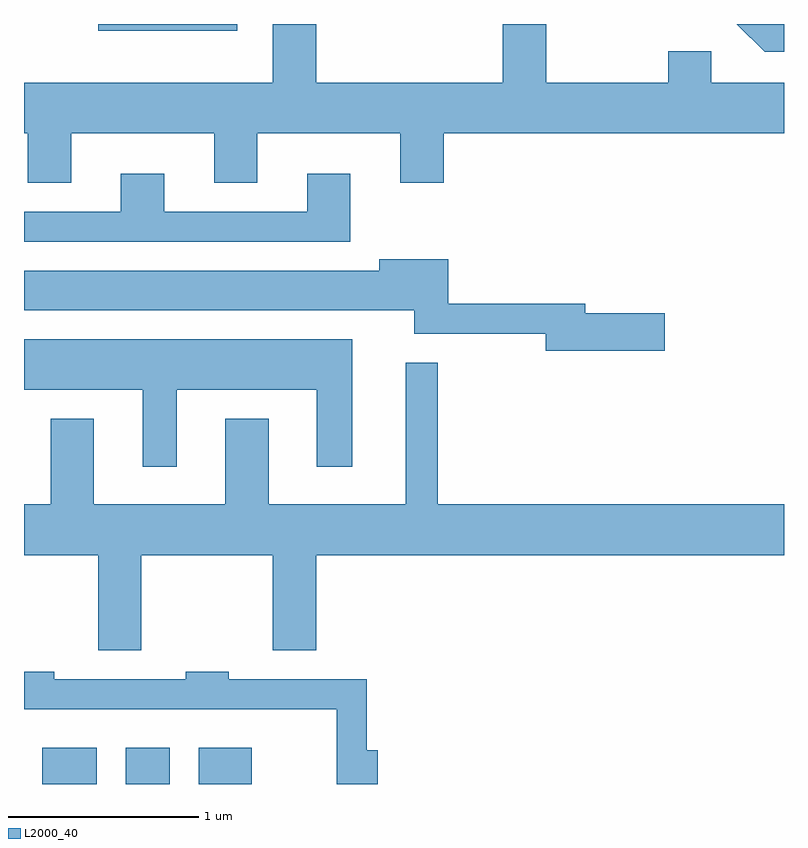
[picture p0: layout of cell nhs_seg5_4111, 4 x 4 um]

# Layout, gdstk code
import gdstk
lib = gdstk.Library(unit=1e-6, precision=1e-09)
def R(c, l, rs):  # rectangles x0, y0, x1, y1
    for r in rs: c.add(gdstk.rectangle(r[:2], r[2:], *l))
def P(c, l, *ps):  # polygons
    for p in ps: c.add(gdstk.Polygon(p, *l))
L2000_40 = (2000, 40)

nhs_seg5_4111 = lib.new_cell('nhs_seg5_4111')
R(nhs_seg5_4111, L2000_40, [(307.706,1420.072,307.994,1420.264), (308.146,1420.072,308.379,1420.264), (308.531,1420.072,308.809,1420.264), (308.001,1424.036,308.734,1424.072)])
P(nhs_seg5_4111, L2000_40, [(311.611,1423.764),(311.229,1423.764),(311.229,1423.929),(311.001,1423.929),(311.001,1423.764),(310.359,1423.764),(310.359,1424.072),(310.131,1424.072),(310.131,1423.764),(309.149,1423.764),(309.149,1424.072),(308.921,1424.072),(308.921,1423.764),(307.611,1423.764),(307.611,1423.496),(307.631,1423.496),(307.631,1423.236),(307.859,1423.236),(307.859,1423.496),(308.611,1423.496),(308.611,1423.236),(308.839,1423.236),(308.839,1423.496),(309.591,1423.496),(309.591,1423.236),(309.819,1423.236),(309.819,1423.496),(311.611,1423.496)],
  [(311.611,1424.072),(311.363,1424.072),(311.509,1423.926),(311.611,1423.926)],
  [(309.329,1423.284),(309.101,1423.284),(309.101,1423.084),(308.349,1423.084),(308.349,1423.284),(308.121,1423.284),(308.121,1423.084),(307.611,1423.084),(307.611,1422.926),(309.329,1422.926)],
  [(310.984,1422.549),(310.564,1422.549),(310.564,1422.599),(309.844,1422.599),(309.844,1422.834),(309.481,1422.834),(309.481,1422.774),(307.611,1422.774),(307.611,1422.566),(309.666,1422.566),(309.666,1422.441),(310.356,1422.441),(310.356,1422.351),(310.984,1422.351)],
  [(308.414,1422.146),(309.151,1422.146),(309.151,1421.741),(309.339,1421.741),(309.339,1422.414),(307.611,1422.414),(307.611,1422.146),(308.236,1422.146),(308.236,1421.741),(308.414,1421.741)],
  [(308.229,1421.276),(308.921,1421.276),(308.921,1420.776),(309.149,1420.776),(309.149,1421.276),(311.611,1421.276),(311.611,1421.544),(309.789,1421.544),(309.789,1422.288),(309.621,1422.288),(309.621,1421.544),(308.899,1421.544),(308.899,1421.994),(308.671,1421.994),(308.671,1421.544),(307.979,1421.544),(307.979,1421.994),(307.751,1421.994),(307.751,1421.544),(307.611,1421.544),(307.611,1421.276),(308.001,1421.276),(308.001,1420.776),(308.229,1420.776)],
  [(309.474,1420.249),(309.414,1420.249),(309.414,1420.624),(308.689,1420.624),(308.689,1420.664),(308.461,1420.664),(308.461,1420.624),(307.769,1420.624),(307.769,1420.664),(307.611,1420.664),(307.611,1420.466),(309.256,1420.466),(309.256,1420.072),(309.474,1420.072)])

lib.write_gds('nhs_seg5_4111.gds')
